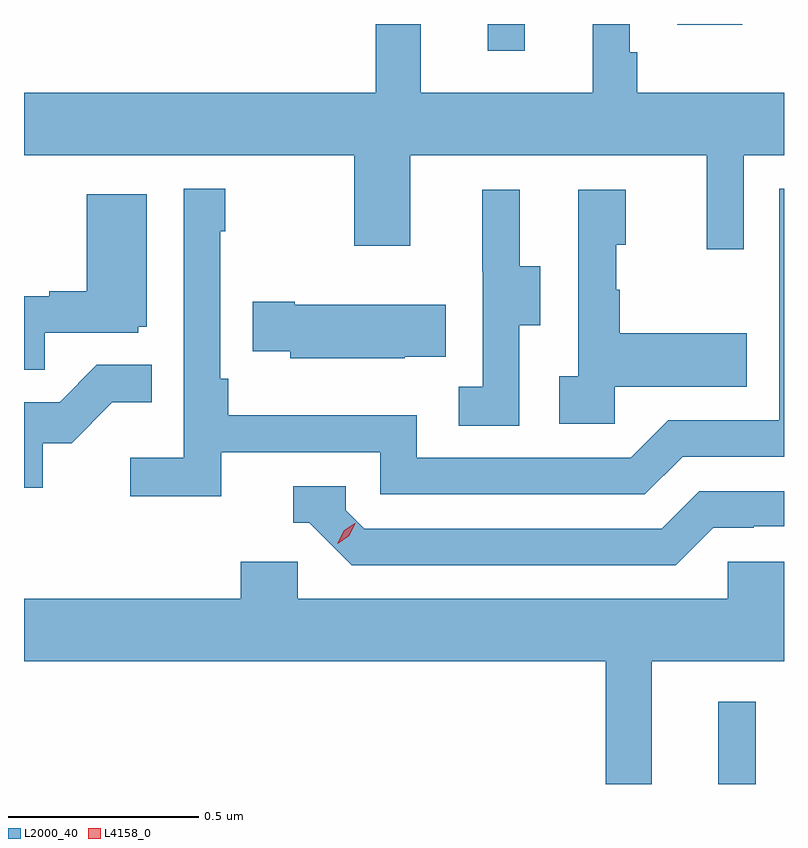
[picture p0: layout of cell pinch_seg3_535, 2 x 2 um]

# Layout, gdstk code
import gdstk
lib = gdstk.Library(unit=1e-6, precision=1e-09)
def R(c, l, rs):  # rectangles x0, y0, x1, y1
    for r in rs: c.add(gdstk.rectangle(r[:2], r[2:], *l))
def P(c, l, *ps):  # polygons
    for p in ps: c.add(gdstk.Polygon(p, *l))
L2000_40 = (2000, 40)
L4158_0 = (4158, 0)

pinch_seg3_535 = lib.new_cell('pinch_seg3_535')
R(pinch_seg3_535, L2000_40, [(1128.044,705.921,1128.142,706.138), (1127.438,707.85,1127.535,707.921), (1127.936,707.919,1128.107,707.921)])
P(pinch_seg3_535, L2000_40, [(1128.111,707.576),(1128.217,707.576),(1128.217,707.74),(1127.831,707.74),(1127.831,707.847),(1127.811,707.847),(1127.811,707.921),(1127.714,707.921),(1127.714,707.74),(1127.261,707.74),(1127.261,707.921),(1127.143,707.921),(1127.143,707.74),(1126.217,707.74),(1126.217,707.576),(1127.086,707.576),(1127.086,707.337),(1127.233,707.337),(1127.233,707.576),(1128.014,707.576),(1128.014,707.328),(1128.111,707.328)],
  [(1126.736,706.794),(1127.154,706.794),(1127.154,706.683),(1127.851,706.683),(1127.95,706.782),(1128.217,706.782),(1128.217,707.487),(1128.204,707.487),(1128.204,706.878),(1127.913,706.878),(1127.814,706.779),(1127.25,706.779),(1127.25,706.891),(1126.754,706.891),(1126.754,706.987),(1126.734,706.987),(1126.734,707.375),(1126.747,707.375),(1126.747,707.488),(1126.638,707.488),(1126.638,706.78),(1126.497,706.78),(1126.497,706.678),(1126.736,706.678)],
  [(1127.772,706.967),(1128.119,706.967),(1128.119,707.107),(1127.785,707.107),(1127.785,707.222),(1127.775,707.222),(1127.775,707.34),(1127.8,707.34),(1127.8,707.485),(1127.676,707.485),(1127.676,706.994),(1127.625,706.994),(1127.625,706.869),(1127.772,706.869)],
  [(1127.52,707.128),(1127.575,707.128),(1127.575,707.283),(1127.521,707.283),(1127.521,707.485),(1127.423,707.485),(1127.423,707.271),(1127.424,707.271),(1127.424,706.967),(1127.361,706.967),(1127.361,706.864),(1127.52,706.864)],
  [(1126.271,707.109),(1126.518,707.109),(1126.518,707.124),(1126.54,707.124),(1126.54,707.473),(1126.382,707.473),(1126.382,707.218),(1126.283,707.218),(1126.283,707.205),(1126.217,707.205),(1126.217,707.011),(1126.271,707.011)],
  [(1127.219,707.045),(1127.327,707.045),(1127.327,707.182),(1126.93,707.182),(1126.93,707.19),(1126.819,707.19),(1126.819,707.06),(1126.917,707.06),(1126.917,707.042),(1127.219,707.042)],
  [(1126.266,706.818),(1126.342,706.818),(1126.449,706.925),(1126.553,706.925),(1126.553,707.024),(1126.409,707.024),(1126.311,706.926),(1126.217,706.926),(1126.217,706.701),(1126.266,706.701)],
  [(1128.031,706.596),(1128.138,706.596),(1128.138,706.599),(1128.217,706.599),(1128.217,706.692),(1127.994,706.692),(1127.895,706.593),(1127.112,706.593),(1127.064,706.641),(1127.064,706.704),(1126.925,706.704),(1126.925,706.608),(1126.968,706.608),(1127.079,706.497),(1127.932,706.497)],
  [(1126.938,706.506),(1126.787,706.506),(1126.787,706.408),(1126.217,706.408),(1126.217,706.244),(1127.748,706.244),(1127.748,705.921),(1127.869,705.921),(1127.869,706.244),(1128.217,706.244),(1128.217,706.506),(1128.069,706.506),(1128.069,706.408),(1126.938,706.408)])
P(pinch_seg3_535, L4158_0, [(1127.042,706.553),(1127.042,706.554),(1127.058,706.587),(1127.088,706.607),(1127.089,706.607),(1127.089,706.606),(1127.073,706.574),(1127.042,706.553)])

lib.write_gds('pinch_seg3_535.gds')
